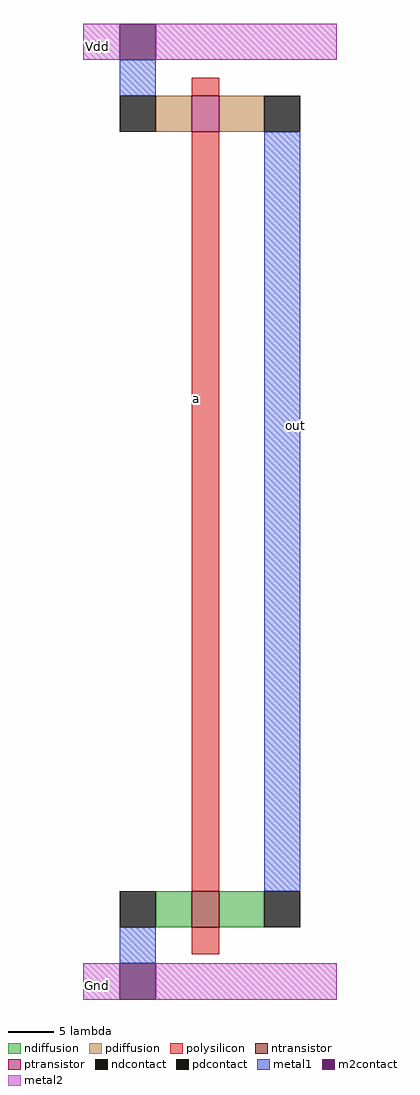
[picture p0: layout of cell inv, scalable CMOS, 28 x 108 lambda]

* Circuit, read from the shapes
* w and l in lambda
.subckt inv Gnd Vdd a out
M1 out a Gnd VSUBS nfet w=4 l=3
M2 out a Vdd NWELL pfet w=4 l=3
.ends

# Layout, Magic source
magic
tech scmos
<< polysilicon >>
rect 12 100 15 102
rect 12 12 15 96
rect 12 5 15 8
<< ndiffusion >>
rect 8 8 12 12
rect 15 8 20 12
<< pdiffusion >>
rect 8 96 12 100
rect 15 96 20 100
<< metal1 >>
rect 4 100 8 104
rect 20 12 24 96
rect 4 4 8 8
<< metal2 >>
rect 0 104 4 108
rect 8 104 28 108
rect 0 0 4 4
rect 8 0 28 4
<< ntransistor >>
rect 12 8 15 12
<< ptransistor >>
rect 12 96 15 100
<< ndcontact >>
rect 4 8 8 12
rect 20 8 24 12
<< pdcontact >>
rect 4 96 8 100
rect 20 96 24 100
<< m2contact >>
rect 4 104 8 108
rect 4 0 8 4
<< labels >>
rlabel metal2 1 105 2 106 4 Vdd
rlabel polysilicon 12 66 13 67 1 a
rlabel metal2 1 1 2 2 2 Gnd
rlabel metal1 23 63 24 64 7 out
<< end >>
